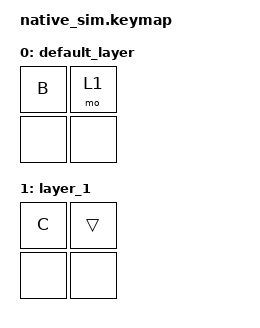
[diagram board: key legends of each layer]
#include <dt-bindings/zmk/keys.h>
#include <behaviors.dtsi>
#include <dt-bindings/zmk/input_mock.h>
#include "../behavior_keymap.dtsi"

/ {
    keymap {
        compatible = "zmk,keymap";

        default_layer {
            bindings = <
                &kp B &mo 1
                &none &none>;
        };

        layer_1 {
            bindings = <
                &kp C &trans
                &none &none>;
        };
    };
};

&mock_input {
    events = <
        ZMK_INPUT_MOCK_PRESS(0,1,10)
        ZMK_INPUT_MOCK_PRESS(0,0,10)
        ZMK_INPUT_MOCK_RELEASE(0,0,10)
        ZMK_INPUT_MOCK_RELEASE(0,1,10)
    >;
};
